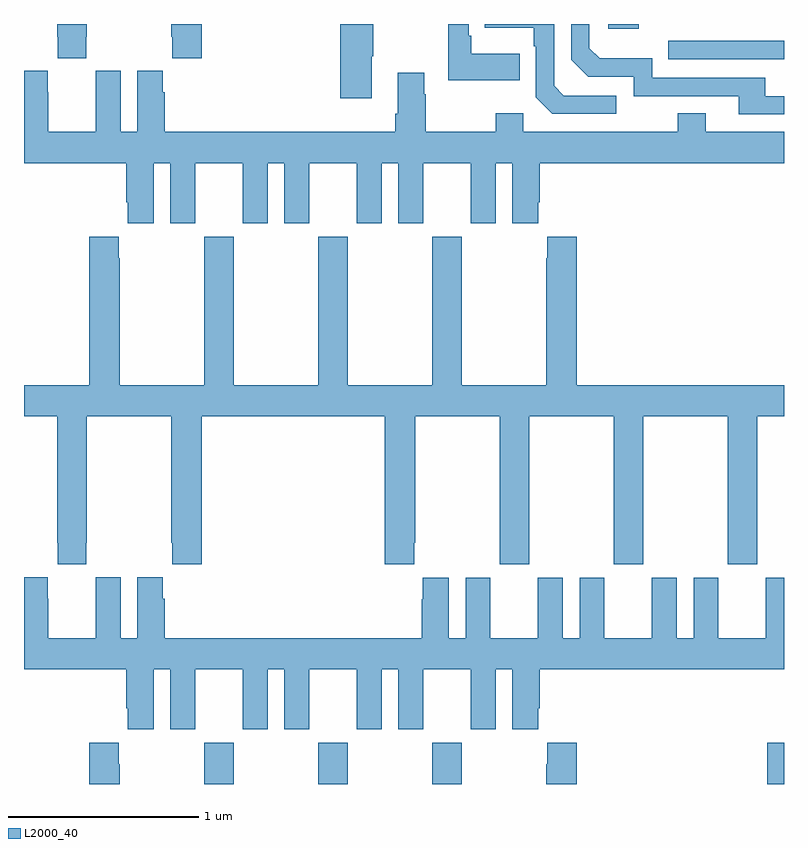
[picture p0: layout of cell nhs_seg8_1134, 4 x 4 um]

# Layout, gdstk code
import gdstk
lib = gdstk.Library(unit=1e-6, precision=1e-09)
def R(c, l, rs):  # rectangles x0, y0, x1, y1
    for r in rs: c.add(gdstk.rectangle(r[:2], r[2:], *l))
def A(c, l, x, y, w, h, nx, ny, dx, dy):  # array of equal rectangles
    R(c, l, [(x+i*dx, y+j*dy, x+i*dx+w, y+j*dy+h) for i in range(nx) for j in range(ny)])
def P(c, l, *ps):  # polygons
    for p in ps: c.add(gdstk.Polygon(p, *l))
L2000_40 = (2000, 40)

nhs_seg8_1134 = lib.new_cell('nhs_seg8_1134')
A(nhs_seg8_1134, L2000_40, 183.949, 1111.9, 0.155, 0.216, 3, 1, 0.6, 0)
R(nhs_seg8_1134, L2000_40, [(186.911,1111.9,187,1112.116), (186.391,1115.715,187,1115.811), (186.075,1115.876,186.236,1115.9)])
P(nhs_seg8_1134, L2000_40, [(183.935,1115.9),(183.775,1115.9),(183.775,1115.833),(183.781,1115.833),(183.781,1115.721),(183.935,1115.721)],
  [(185.609,1115.743),(185.353,1115.743),(185.353,1115.839),(185.34,1115.839),(185.34,1115.9),(185.232,1115.9),(185.232,1115.603),(185.609,1115.603)],
  [(183.327,1115.833),(183.33,1115.833),(183.33,1115.9),(183.175,1115.9),(183.175,1115.833),(183.177,1115.833),(183.177,1115.721),(183.327,1115.721)],
  [(184.831,1115.731),(184.839,1115.731),(184.839,1115.9),(184.664,1115.9),(184.664,1115.508),(184.831,1115.508)],
  [(186.118,1115.523),(185.841,1115.523),(185.79,1115.574),(185.79,1115.9),(185.425,1115.9),(185.425,1115.879),(185.682,1115.879),(185.682,1115.783),(185.694,1115.783),(185.694,1115.514),(185.781,1115.427),(186.118,1115.427)],
  [(187,1115.52),(186.901,1115.52),(186.901,1115.616),(186.306,1115.616),(186.306,1115.719),(186.029,1115.719),(185.976,1115.772),(185.976,1115.9),(185.88,1115.9),(185.88,1115.712),(185.97,1115.622),(186.21,1115.622),(186.21,1115.52),(186.761,1115.52),(186.761,1115.424),(187,1115.424)],
  [(183.682,1115.168),(183.77,1115.168),(183.77,1114.851),(183.901,1114.851),(183.901,1115.168),(184.151,1115.168),(184.151,1114.851),(184.282,1114.851),(184.282,1115.168),(184.37,1115.168),(184.37,1114.851),(184.501,1114.851),(184.501,1115.168),(184.751,1115.168),(184.751,1114.851),(184.882,1114.851),(184.882,1115.168),(184.97,1115.168),(184.97,1114.851),(185.101,1114.851),(185.101,1115.168),(185.351,1115.168),(185.351,1114.851),(185.482,1114.851),(185.482,1115.168),(185.57,1115.168),(185.57,1114.851),(185.707,1114.851),(185.707,1114.963),(185.714,1114.963),(185.714,1115.168),(187,1115.168),(187,1115.332),(186.589,1115.332),(186.589,1115.431),(186.442,1115.431),(186.442,1115.332),(185.628,1115.332),(185.628,1115.431),(185.482,1115.431),(185.482,1115.332),(185.115,1115.332),(185.115,1115.531),(185.107,1115.531),(185.107,1115.644),(184.967,1115.644),(184.967,1115.428),(184.955,1115.428),(184.955,1115.332),(183.74,1115.332),(183.74,1115.54),(183.73,1115.54),(183.73,1115.653),(183.596,1115.653),(183.596,1115.332),(183.508,1115.332),(183.508,1115.653),(183.378,1115.653),(183.378,1115.54),(183.377,1115.54),(183.377,1115.332),(183.127,1115.332),(183.127,1115.54),(183.126,1115.54),(183.126,1115.653),(183,1115.653),(183,1115.168),(183.539,1115.168),(183.539,1114.963),(183.545,1114.963),(183.545,1114.851),(183.682,1114.851)],
  [(186.103,1113.057),(186.258,1113.057),(186.258,1113.836),(186.703,1113.836),(186.703,1113.057),(186.858,1113.057),(186.858,1113.836),(187,1113.836),(187,1114),(185.909,1114),(185.909,1114.78),(185.753,1114.78),(185.753,1114.667),(185.749,1114.667),(185.749,1114),(185.304,1114),(185.304,1114.78),(185.149,1114.78),(185.149,1114),(184.704,1114),(184.704,1114.78),(184.549,1114.78),(184.549,1114),(184.104,1114),(184.104,1114.78),(183.949,1114.78),(183.949,1114),(183.504,1114),(183.504,1114.667),(183.499,1114.667),(183.499,1114.78),(183.344,1114.78),(183.344,1114),(183,1114),(183,1113.836),(183.175,1113.836),(183.175,1113.169),(183.177,1113.169),(183.177,1113.057),(183.327,1113.057),(183.327,1113.169),(183.33,1113.169),(183.33,1113.836),(183.775,1113.836),(183.775,1113.169),(183.781,1113.169),(183.781,1113.057),(183.935,1113.057),(183.935,1113.836),(184.898,1113.836),(184.898,1113.057),(185.053,1113.057),(185.053,1113.169),(185.058,1113.169),(185.058,1113.836),(185.503,1113.836),(185.503,1113.057),(185.658,1113.057),(185.658,1113.836),(186.103,1113.836)],
  [(183.682,1112.504),(183.77,1112.504),(183.77,1112.187),(183.901,1112.187),(183.901,1112.504),(184.151,1112.504),(184.151,1112.187),(184.282,1112.187),(184.282,1112.504),(184.37,1112.504),(184.37,1112.187),(184.501,1112.187),(184.501,1112.504),(184.751,1112.504),(184.751,1112.187),(184.882,1112.187),(184.882,1112.504),(184.97,1112.504),(184.97,1112.187),(185.101,1112.187),(185.101,1112.504),(185.351,1112.504),(185.351,1112.187),(185.482,1112.187),(185.482,1112.504),(185.57,1112.504),(185.57,1112.187),(185.707,1112.187),(185.707,1112.299),(185.714,1112.299),(185.714,1112.504),(187,1112.504),(187,1112.986),(186.905,1112.986),(186.905,1112.668),(186.655,1112.668),(186.655,1112.986),(186.524,1112.986),(186.524,1112.668),(186.436,1112.668),(186.436,1112.986),(186.305,1112.986),(186.305,1112.668),(186.055,1112.668),(186.055,1112.986),(185.924,1112.986),(185.924,1112.668),(185.836,1112.668),(185.836,1112.986),(185.705,1112.986),(185.705,1112.668),(185.455,1112.668),(185.455,1112.986),(185.324,1112.986),(185.324,1112.668),(185.236,1112.668),(185.236,1112.986),(185.099,1112.986),(185.099,1112.873),(185.093,1112.873),(185.093,1112.668),(183.74,1112.668),(183.74,1112.876),(183.73,1112.876),(183.73,1112.989),(183.596,1112.989),(183.596,1112.668),(183.508,1112.668),(183.508,1112.989),(183.378,1112.989),(183.378,1112.876),(183.377,1112.876),(183.377,1112.668),(183.127,1112.668),(183.127,1112.876),(183.126,1112.876),(183.126,1112.989),(183,1112.989),(183,1112.504),(183.539,1112.504),(183.539,1112.299),(183.545,1112.299),(183.545,1112.187),(183.682,1112.187)],
  [(183.504,1112.003),(183.499,1112.003),(183.499,1112.116),(183.344,1112.116),(183.344,1111.9),(183.504,1111.9)],
  [(185.909,1112.116),(185.753,1112.116),(185.753,1112.003),(185.749,1112.003),(185.749,1111.9),(185.909,1111.9)])

lib.write_gds('nhs_seg8_1134.gds')
